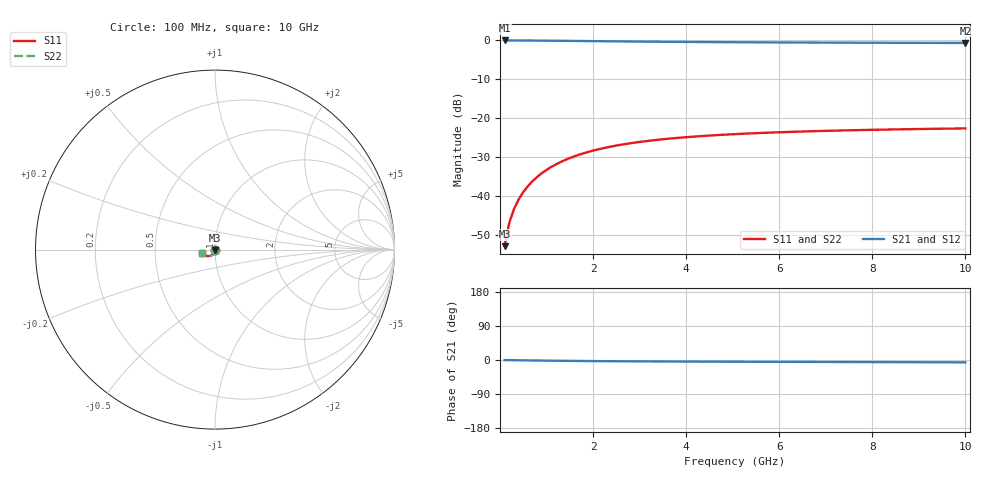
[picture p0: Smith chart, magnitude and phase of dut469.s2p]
! Touchstone file exported from HFSS 2024.1.0
!  File:  C:/UserFiles/LocalFiles/RDL_TSV_Batchsim/temp_TSV1_469_1779698350.aedt
!  Generated:  04:43:54 PM May 25, 2026
!  Design:  TSV1
!  Project:  temp_TSV1_469_1779698350
!  Setup:  Setup1
!  Solution:  Sweep
! Variables:
!  dtsv = 14.61um
!  hbump = 3um
!  htsv = 96.68um
!  lrdl = 252.1521522um
!  p = 40
!  p1 = 52.52um
!  t = 500um
!  trdl = 3um
!  wrdl = 24.89489489um
# GHz S MA R 50.000000
! Terminal data exported
! Port[1] = TSV22_T1
! Port[2] = TSV22_T2
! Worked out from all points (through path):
!   100 points, 100 MHz to 10 GHz, reference 50 ohm
!   highest |S21| = 0.00 dB at 100 MHz (marker M1); lowest = -0.6 dB at 10 GHz (marker M2)
!   lowest |S11| = -53.0 dB at 100 MHz (marker M3), VSWR 1.00, Z = 50 - j0.224 ohm
!   |S11| at or under -10 dB: start of sweep to end of sweep
!   |S22| runs from -53.0 to -22.7 dB; largest |S21 - S12| = 4.5e-15
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0.1  0.002243 -89.5  0.9998 -0.2  0.9998 -0.2  0.002243 -89.5
! Gamma 0 0 0 0
! Port Impedance 50 0 50 0
0.2  0.004484 -92.3  0.9996 -0.4  0.9996 -0.4  0.004484 -92.3
0.3  0.006721 -94.4  0.9992 -0.5  0.9992 -0.5  0.006721 -94.4
0.4  0.008943 -96.4  0.9987 -0.7  0.9987 -0.7  0.008943 -96.4
0.5  0.01114 -98.3  0.9981 -0.9  0.9981 -0.9  0.01114 -98.3
0.6  0.0133 -100.2  0.9974 -1.1  0.9974 -1.1  0.0133 -100.2
0.7  0.01543 -102.0  0.9965 -1.2  0.9965 -1.2  0.01543 -102.0
0.8  0.01751 -103.8  0.9956 -1.4  0.9956 -1.4  0.01751 -103.8
0.9  0.01954 -105.5  0.9945 -1.5  0.9945 -1.5  0.01954 -105.5
1.1  0.02345 -108.9  0.9923 -1.8  0.9923 -1.8  0.02345 -108.9
1.4  0.02887 -113.6  0.9884 -2.2  0.9884 -2.2  0.02887 -113.6
1.6  0.03219 -116.6  0.9857 -2.5  0.9857 -2.5  0.03219 -116.6
1.8  0.03526 -119.4  0.9829 -2.7  0.9829 -2.7  0.03526 -119.4
2.1  0.03945 -123.2  0.9787 -3.0  0.9787 -3.0  0.03945 -123.2
2.5  0.04428 -127.8  0.9733 -3.3  0.9733 -3.3  0.04428 -127.8
2.9  0.04837 -131.9  0.9683 -3.6  0.9683 -3.6  0.04837 -131.9
3.4  0.05264 -136.3  0.9626 -3.8  0.9626 -3.8  0.05264 -136.3
4.2  0.05795 -142.2  0.955 -4.2  0.955 -4.2  0.05795 -142.2
5.1  0.06238 -147.5  0.9482 -4.6  0.9482 -4.6  0.06238 -147.5
6.7  0.06774 -154.6  0.9395 -5.1  0.9395 -5.1  0.06774 -154.6
8.4  0.07136 -160.3  0.9333 -5.7  0.9333 -5.7  0.07136 -160.3
10  0.07366 -164.5  0.9293 -6.2  0.9293 -6.2  0.07366 -164.5
